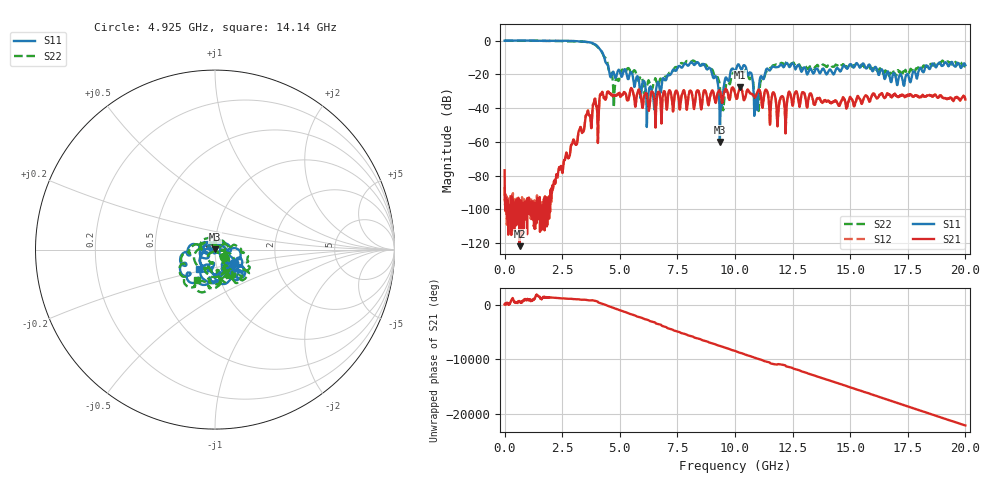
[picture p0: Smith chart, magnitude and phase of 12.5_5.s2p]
#  HZ  S  RI  R  50.00
! Rohde & Schwarz Vector Network Analyzer
! Rohde-Schwarz,ZNB20-2Port,1311601062102128,3.60
! Created: UTC 4/29/2024, 2:56:50 PM
! freq[Hz]  re:S11  im:S11  re:S21  im:S21  re:S12  im:S12  re:S22  im:S22
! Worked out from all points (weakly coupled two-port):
!   2007 points, 100 kHz to 20 GHz, reference 50 ohm
!   highest |S21| = -27.67 dB at 10.23 GHz (marker M1); lowest = -121.7 dB at 648.2 MHz (marker M2)
!   lowest |S11| = -60.0 dB at 9.342 GHz (marker M3), VSWR 1.00, Z = 50.1 + j0.0802 ohm
!   |S11| at or under -10 dB: 4.326 GHz to end of sweep
!   |S22| runs from -41.9 to 0.1 dB; largest |S21 - S12| = 0.0021
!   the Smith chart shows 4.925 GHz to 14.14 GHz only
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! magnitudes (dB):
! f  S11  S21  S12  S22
! 100 kHz  0.0  -76.8  -86.6  0.1
! 648.2 MHz  0.1  -121.7  -96.9  0.0
! 2.223 GHz  -0.1  -81.7  -82.7  -0.3
! 3.34 GHz  -0.6  -53.9  -53.6  -0.6
! 4.158 GHz  -5.5  -31.9  -31.5  -5.2
! 4.776 GHz  -20.7  -32.5  -32.4  -28.7
! 5.354 GHz  -22.8  -35.2  -35.2  -16.3
! 6.211 GHz  -35.0  -35.9  -35.9  -24.9
! 6.67 GHz  -24.8  -30.4  -30.4  -26.4
! 8.375 GHz  -12.8  -29.5  -29.6  -12.9
! 9.173 GHz  -21.2  -36.4  -36.4  -22.5
! 9.342 GHz  -60.0  -30.1  -30.1  -26.8
! 9.482 GHz  -32.1  -34.1  -34.1  -40.7
! 10 GHz  -18.7  -31.4  -31.4  -19.5
! 10.23 GHz  -16.0  -27.7  -27.7  -16.8
! 10.69 GHz  -19.0  -31.4  -31.3  -22.1
! 10.91 GHz  -33.5  -32.6  -32.7  -36.3
! 11.42 GHz  -16.7  -30.9  -30.9  -16.9
! 11.86 GHz  -15.7  -45.8  -45.8  -14.1
! 13.34 GHz  -18.0  -32.8  -32.8  -15.3
! 16.67 GHz  -19.0  -31.7  -31.8  -20.5
! 20 GHz  -14.6  -34.9  -35.0  -14.4
